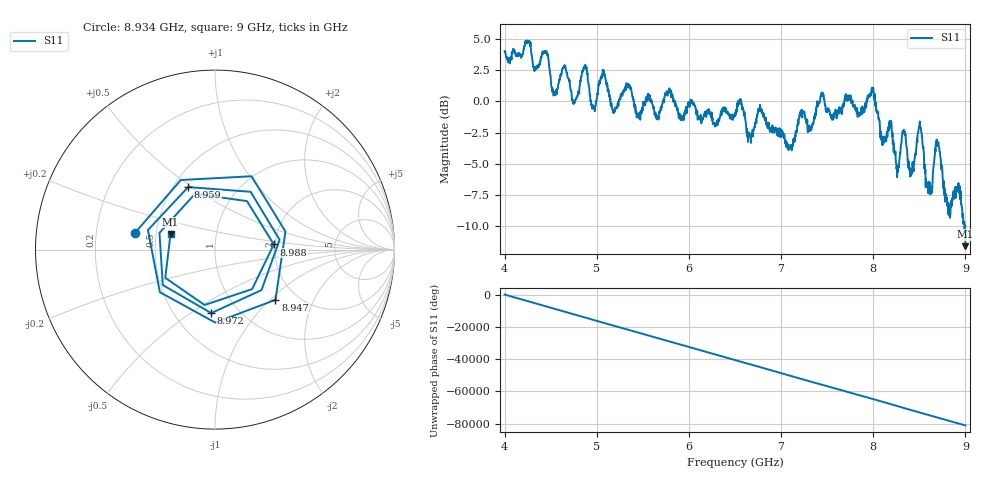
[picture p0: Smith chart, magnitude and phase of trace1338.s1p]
! Created with skrf 1.8.0 (http://scikit-rf.org).
# Hz S RI R 50.0
!freq ReS11 ImS11
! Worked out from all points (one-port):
!   1601 points, 4 GHz to 9 GHz, reference 50 ohm
!   lowest |S11| = -11.6 dB at 9 GHz (marker M1), VSWR 1.71, Z = 29.8 + j5.57 ohm
!   |S11| at or under -10 dB: 8.989388 GHz to 8.995473 GHz (6.086 MHz wide, 0.0677 % of centre); 8.997114 GHz to end of sweep
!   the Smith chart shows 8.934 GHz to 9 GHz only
!   S11 on the Smith chart (normalised r, x): 8.934 GHz: 0.38, +0.09; 8.947 GHz: 1.56, -1.08; 8.959 GHz: 0.59, +0.48; 8.972 GHz: 0.75, -0.61; 8.988 GHz: 1.97, +0.13; 9 GHz: 0.60, +0.11
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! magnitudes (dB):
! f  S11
! 4 GHz  4.0
! 4.447 GHz  4.1
! 4.544 GHz  0.6
! 4.625 GHz  2.6
! 4.756 GHz  -0.1
! 4.866 GHz  2.6
! 4.962 GHz  -0.3
! 5.066 GHz  2.6
! 5.25 GHz  0.3
! 5.875 GHz  -0.5
! 6.5 GHz  -1.2
! 7.125 GHz  -3.5
! 7.444 GHz  0.4
! 7.75 GHz  0.4
! 7.991 GHz  0.9
! 8.1 GHz  -3.5
! 8.375 GHz  -4.9
! 8.422 GHz  -5.7
! 8.506 GHz  -1.6
! 8.6 GHz  -6.4
! 8.697 GHz  -3.4
! 8.812 GHz  -8.5
! 8.934 GHz  -6.8
! 8.947 GHz  -7.2
! 8.959 GHz  -8.4
! 8.972 GHz  -9.0
! 8.988 GHz  -9.7
! 9 GHz  -11.6
